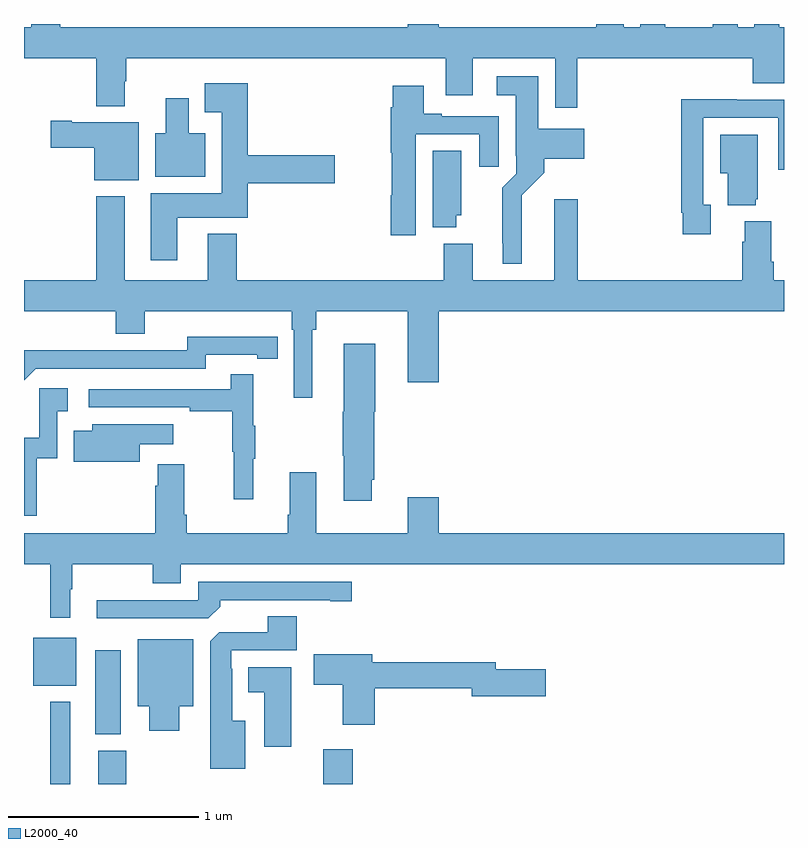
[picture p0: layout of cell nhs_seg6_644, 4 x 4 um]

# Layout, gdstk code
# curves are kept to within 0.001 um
import gdstk
lib = gdstk.Library(unit=1e-6, precision=1e-09)
def R(c, l, rs):  # rectangles x0, y0, x1, y1
    for r in rs: c.add(gdstk.rectangle(r[:2], r[2:], *l))
def P(c, l, *ps):  # polygons
    for p in ps: c.add(gdstk.Polygon(p, *l))
L2000_40 = (2000, 40)

nhs_seg6_644 = lib.new_cell('nhs_seg6_644')
R(nhs_seg6_644, L2000_40, [(151.139,959.5,151.243,959.932), (151.391,959.5,151.539,959.676), (152.576,959.5,152.729,959.683), (151.376,959.761,151.51,960.205), (151.049,960.017,151.276,960.271)])
P(nhs_seg6_644, L2000_40, [(153.911,963.32),(154.835,963.32),(154.835,963.187),(155,963.187),(155,963.484),(154.975,963.484),(154.975,963.5),(154.844,963.5),(154.844,963.484),(154.756,963.484),(154.756,963.5),(154.625,963.5),(154.625,963.484),(154.375,963.484),(154.375,963.5),(154.244,963.5),(154.244,963.484),(154.156,963.484),(154.156,963.5),(154.013,963.5),(154.013,963.484),(153.184,963.484),(153.184,963.5),(153.02,963.5),(153.02,963.484),(151.19,963.484),(151.19,963.5),(151.037,963.5),(151.037,963.484),(151,963.484),(151,963.32),(151.379,963.32),(151.379,963.068),(151.531,963.068),(151.531,963.2),(151.539,963.2),(151.539,963.32),(153.221,963.32),(153.221,963.126),(153.361,963.126),(153.361,963.32),(153.795,963.32),(153.795,963.06),(153.911,963.06)],
  [(153.619,962.6),(153.737,962.718),(153.737,962.792),(153.949,962.792),(153.949,962.95),(153.706,962.95),(153.706,963.226),(153.489,963.226),(153.489,963.125),(153.587,963.125),(153.587,962.806),(153.591,962.806),(153.591,962.712),(153.517,962.638),(153.517,962.347),(153.521,962.347),(153.521,962.237),(153.619,962.237)],
  [(151.807,962.48),(152.177,962.48),(152.177,962.663),(152.635,962.663),(152.635,962.81),(152.177,962.81),(152.177,963.187),(151.952,963.187),(151.952,963.035),(152.042,963.035),(152.042,962.608),(151.667,962.608),(151.667,962.256),(151.807,962.256)],
  [(153.061,962.919),(153.395,962.919),(153.395,962.748),(153.499,962.748),(153.499,963.015),(153.199,963.015),(153.199,963.028),(153.103,963.028),(153.103,963.175),(152.942,963.175),(152.942,963.062),(152.93,963.062),(152.93,962.822),(152.935,962.822),(152.935,962.6),(152.93,962.6),(152.93,962.388),(153.061,962.388)],
  [(151.954,962.926),(151.867,962.926),(151.867,963.109),(151.745,963.109),(151.745,962.926),(151.691,962.926),(151.691,962.696),(151.954,962.696)],
  [(154.615,962.55),(154.575,962.55),(154.575,963.006),(154.971,963.006),(154.971,962.733),(155,962.733),(155,963.102),(154.751,963.102),(154.751,963.104),(154.459,963.104),(154.459,962.506),(154.467,962.506),(154.467,962.394),(154.615,962.394)],
  [(151.603,962.983),(151.252,962.983),(151.252,962.991),(151.14,962.991),(151.14,962.849),(151.37,962.849),(151.37,962.678),(151.603,962.678)],
  [(154.85,962.577),(154.861,962.577),(154.861,962.917),(154.664,962.917),(154.664,962.714),(154.703,962.714),(154.703,962.546),(154.85,962.546)],
  [(153.274,962.493),(153.301,962.493),(153.301,962.834),(153.152,962.834),(153.152,962.429),(153.274,962.429)],
  [(152.518,961.892),(152.537,961.892),(152.537,961.988),(153.02,961.988),(153.02,961.614),(153.184,961.614),(153.184,961.988),(155,961.988),(155,962.152),(154.946,962.152),(154.946,962.248),(154.933,962.248),(154.933,962.461),(154.793,962.461),(154.793,962.354),(154.781,962.354),(154.781,962.152),(153.914,962.152),(153.914,962.578),(153.791,962.578),(153.791,962.152),(153.361,962.152),(153.361,962.344),(153.209,962.344),(153.209,962.152),(152.12,962.152),(152.12,962.395),(151.967,962.395),(151.967,962.152),(151.531,962.152),(151.531,962.593),(151.379,962.593),(151.379,962.152),(151,962.152),(151,961.988),(151.484,961.988),(151.484,961.871),(151.636,961.871),(151.636,961.988),(152.408,961.988),(152.408,961.892),(152.421,961.892),(152.421,961.533),(152.518,961.533)],
  [(151.062,961.686),(151.956,961.686),(151.956,961.758),(152.228,961.758),(152.228,961.738),(152.336,961.738),(152.336,961.854),(151.86,961.855),(151.86,961.782),(151.4,961.782),(151.4,961.784),(151,961.784),(151,961.624)],
  [(152.83,961.102),(152.843,961.102),(152.843,961.458),(152.848,961.458),(152.848,961.816),(152.684,961.816),(152.684,961.458),(152.677,961.458),(152.677,961.228),(152.684,961.228),(152.684,960.99),(152.83,960.99)],
  [(152.207,961.211),(152.218,961.211),(152.218,961.385),(152.207,961.385),(152.207,961.657),(152.089,961.657),(152.089,961.578),(151.341,961.578),(151.341,961.482),(151.873,961.482),(151.873,961.462),(152.097,961.462),(152.097,961.248),(152.104,961.248),(152.104,960.999),(152.207,960.999)],
  [(151.067,961.215),(151.176,961.215),(151.176,961.461),(151.231,961.461),(151.231,961.582),(151.08,961.582),(151.08,961.323),(151,961.323),(151,960.912),(151.067,960.912)],
  [(151.609,961.289),(151.786,961.289),(151.786,961.393),(151.358,961.393),(151.358,961.36),(151.261,961.36),(151.261,961.195),(151.609,961.195)],
  [(151.243,960.524),(151.253,960.524),(151.253,960.656),(151.678,960.656),(151.678,960.557),(151.825,960.557),(151.825,960.656),(155,960.656),(155,960.82),(153.184,960.82),(153.184,961.009),(153.02,961.009),(153.02,960.82),(152.539,960.82),(152.539,961.141),(152.399,961.141),(152.399,960.916),(152.387,960.916),(152.387,960.82),(151.856,960.82),(151.856,960.916),(151.843,960.916),(151.843,961.183),(151.703,961.183),(151.703,961.07),(151.691,961.07),(151.691,960.82),(151,960.82),(151,960.656),(151.139,960.656),(151.139,960.375),(151.243,960.375)],
  [(152.033,960.434),(152.033,960.468),(152.612,960.468),(152.612,960.463),(152.725,960.463),(152.725,960.564),(151.917,960.564),(151.917,960.468),(151.383,960.468),(151.383,960.372),(151.971,960.372)],
  [(152.164,959.833),(152.095,959.833),(152.095,960.107),(152.091,960.107),(152.091,960.204),(152.435,960.204),(152.435,960.383),(152.282,960.383),(152.282,960.3),(152.028,960.3),(151.979,960.251),(151.979,959.579),(152.164,959.579)],
  [(151.816,959.909),(151.891,959.909),(151.891,960.262),(151.598,960.262),(151.598,959.909),(151.658,959.909),(151.658,959.781),(151.816,959.781)],
  [(152.846,960.004),(153.356,960.004),(153.356,959.962),(153.745,959.962),(153.745,960.104),(153.484,960.104),(153.484,960.14),(152.833,960.14),(152.833,960.184),(152.526,960.184),(152.526,960.022),(152.678,960.022),(152.678,959.811),(152.846,959.811)],
  [(152.407,960.115),(152.18,960.115),(152.18,959.984),(152.264,959.984),(152.264,959.697),(152.407,959.697)])

lib.write_gds('nhs_seg6_644.gds')
